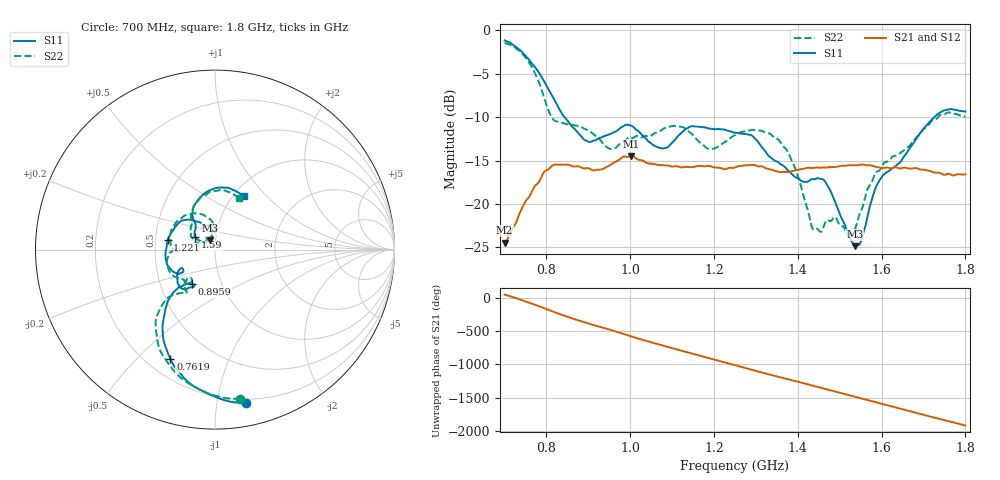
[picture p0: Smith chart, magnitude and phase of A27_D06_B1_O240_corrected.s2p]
! Created with skrf 1.9.0 (http://scikit-rf.org).
# Hz S RI R 50.0
!freq ReS11 ImS11 ReS21 ImS21 ReS12 ImS12 ReS22 ImS22
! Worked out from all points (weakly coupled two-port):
!   1601 points, 700 MHz to 1.8 GHz, reference 50 ohm
!   highest |S21| = -14.49 dB at 1.002 GHz (marker M1); lowest = -24.4 dB at 700 MHz (marker M2)
!   lowest |S11| = -24.9 dB at 1.536 GHz (marker M3), VSWR 1.12, Z = 47.3 + j4.86 ohm
!   |S11| at or under -10 dB: 842.8 MHz to 1.726 GHz (883.3 MHz wide, 68.8 % of centre)
!   |S22| runs from -23.6 to -1.5 dB; largest |S21 - S12| = 0.0035
!   S11 on the Smith chart (normalised r, x): 700 MHz: 0.17, -1.21; 761.9 MHz: 0.29, -0.63; 895.9 MHz: 0.72, -0.29; 1.221 GHz: 0.58, +0.07; 1.59 GHz: 0.80, +0.11; 1.8 GHz: 1.12, +0.76
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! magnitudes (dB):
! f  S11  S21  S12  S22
! 700 MHz  -1.2  -24.4  -24.2  -1.5
! 761.9 MHz  -3.6  -18.9  -18.8  -4.0
! 815.5 MHz  -7.7  -15.5  -15.6  -10.2
! 883.6 MHz  -12.2  -15.8  -15.7  -11.2
! 895.9 MHz  -12.7  -15.9  -16.0  -11.5
! 953 MHz  -11.9  -15.5  -15.5  -13.7
! 1.002 GHz  -11.0  -14.5  -14.6  -12.4
! 1.067 GHz  -13.5  -15.5  -15.5  -11.7
! 1.144 GHz  -11.1  -15.8  -15.8  -11.8
! 1.186 GHz  -11.3  -15.6  -15.7  -13.6
! 1.221 GHz  -11.4  -15.9  -16.0  -13.0
! 1.25 GHz  -11.8  -15.8  -15.7  -12.1
! 1.356 GHz  -15.3  -16.3  -16.2  -12.7
! 1.394 GHz  -16.9  -16.1  -16.1  -16.0
! 1.434 GHz  -17.1  -15.9  -15.8  -22.6
! 1.467 GHz  -17.6  -15.8  -15.8  -22.0
! 1.536 GHz  -24.9  -15.5  -15.5  -22.9
! 1.551 GHz  -24.2  -15.5  -15.5  -20.8
! 1.59 GHz  -17.7  -15.8  -15.7  -16.3
! 1.617 GHz  -16.2  -15.9  -15.8  -15.0
! 1.733 GHz  -9.7  -16.4  -16.4  -10.1
! 1.8 GHz  -9.4  -16.6  -16.6  -10.0
